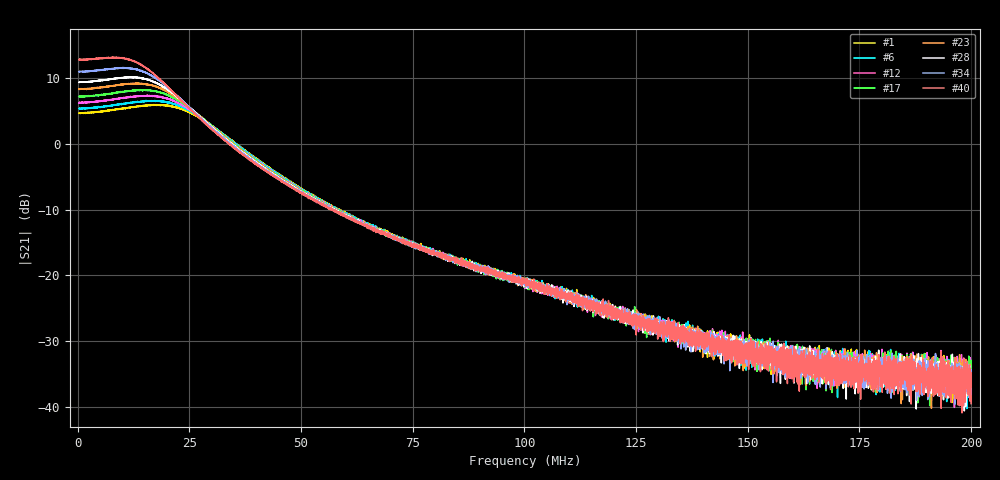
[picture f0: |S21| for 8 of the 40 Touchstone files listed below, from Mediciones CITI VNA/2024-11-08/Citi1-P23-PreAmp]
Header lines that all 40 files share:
# Hz S DB R 50
! CMT, M5065, 19127446, 24.2.4/2
! Data: Format (Calibration Info)
! Freq	S11:dB/Ang(F2)	S21:dB/Ang(F2)	S12:dB/Ang(F2)	S22:dB/Ang(F2)
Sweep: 300 kHz to 200 MHz
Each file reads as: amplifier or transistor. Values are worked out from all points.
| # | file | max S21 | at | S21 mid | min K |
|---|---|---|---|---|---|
| 1 | ganancia_0.s2p | 6.0 dB | 17.08 MHz | -21.0 dB at 100.2 MHz | 9.79 |
| 2 | ganancia_1.s2p | 6.1 dB | 17.37 MHz | -20.8 dB at 100.2 MHz | 6.64 |
| 3 | ganancia_2.s2p | 6.2 dB | 18.56 MHz | -21.4 dB at 100.2 MHz | 5.96 |
| 4 | ganancia_3.s2p | 6.3 dB | 17.34 MHz | -20.6 dB at 100.2 MHz | 7.92 |
| 5 | ganancia_4.s2p | 6.5 dB | 16.7 MHz | -20.9 dB at 100.2 MHz | 6.08 |
| 6 | ganancia_5.s2p | 6.6 dB | 15.3 MHz | -20.9 dB at 100.2 MHz | 10.60 |
| 7 | ganancia_6.s2p | 6.7 dB | 16.83 MHz | -21.0 dB at 100.2 MHz | 6.01 |
| 8 | ganancia_7.s2p | 6.8 dB | 15.68 MHz | -21.4 dB at 100.2 MHz | 6.20 |
| 9 | ganancia_8.s2p | 7.0 dB | 16.7 MHz | -21.0 dB at 100.2 MHz | 7.52 |
| 10 | ganancia_9.s2p | 7.1 dB | 16.26 MHz | -21.1 dB at 100.2 MHz | 7.77 |
| 11 | ganancia_10.s2p | 7.2 dB | 16.57 MHz | -21.8 dB at 100.2 MHz | 6.54 |
| 12 | ganancia_11.s2p | 7.4 dB | 15.61 MHz | -20.9 dB at 100.2 MHz | 6.15 |
| 13 | ganancia_12.s2p | 7.6 dB | 15.15 MHz | -21.2 dB at 100.2 MHz | 6.57 |
| 14 | ganancia_13.s2p | 7.7 dB | 14.19 MHz | -21.0 dB at 100.2 MHz | 7.07 |
| 15 | ganancia_14.s2p | 7.8 dB | 14.77 MHz | -21.0 dB at 100.2 MHz | 5.93 |
| 16 | ganancia_15.s2p | 8.0 dB | 14.99 MHz | -21.3 dB at 100.2 MHz | 7.14 |
| 17 | ganancia_16.s2p | 8.2 dB | 13.97 MHz | -21.2 dB at 100.2 MHz | 4.17 |
| 18 | ganancia_17.s2p | 8.4 dB | 14.72 MHz | -21.0 dB at 100.2 MHz | 5.42 |
| 19 | ganancia_18.s2p | 8.5 dB | 14.08 MHz | -21.4 dB at 100.2 MHz | 6.40 |
| 20 | ganancia_19.s2p | 8.6 dB | 14.01 MHz | -21.1 dB at 100.2 MHz | 6.10 |
| 21 | ganancia_20.s2p | 8.9 dB | 13.33 MHz | -20.9 dB at 100.2 MHz | 7.13 |
| 22 | ganancia_21.s2p | 9.1 dB | 12.73 MHz | -21.9 dB at 100.2 MHz | 4.52 |
| 23 | ganancia_22.s2p | 9.2 dB | 13.61 MHz | -20.9 dB at 100.2 MHz | 5.86 |
| 24 | ganancia_23.s2p | 9.4 dB | 13.3 MHz | -21.1 dB at 100.2 MHz | 4.05 |
| 25 | ganancia_24.s2p | 9.6 dB | 12.55 MHz | -21.6 dB at 100.2 MHz | 4.51 |
| 26 | ganancia_25.s2p | 9.8 dB | 12.51 MHz | -21.1 dB at 100.2 MHz | 5.47 |
| 27 | ganancia_26.s2p | 10.0 dB | 11.95 MHz | -20.5 dB at 100.2 MHz | 5.11 |
| 28 | ganancia_27.s2p | 10.2 dB | 11.68 MHz | -20.6 dB at 100.2 MHz | 5.32 |
| 29 | ganancia_28.s2p | 10.4 dB | 11.8 MHz | -21.0 dB at 100.2 MHz | 4.35 |
| 30 | ganancia_29.s2p | 10.6 dB | 10.77 MHz | -20.7 dB at 100.2 MHz | 4.49 |
| 31 | ganancia_30.s2p | 10.8 dB | 10.55 MHz | -20.8 dB at 100.2 MHz | 4.33 |
| 32 | ganancia_31.s2p | 11.0 dB | 10.4 MHz | -21.5 dB at 100.2 MHz | 4.50 |
| 33 | ganancia_32.s2p | 11.3 dB | 10.02 MHz | -21.6 dB at 100.2 MHz | 3.77 |
| 34 | ganancia_33.s2p | 11.6 dB | 10.18 MHz | -20.8 dB at 100.2 MHz | 3.68 |
| 35 | ganancia_34.s2p | 11.8 dB | 9.643 MHz | -21.0 dB at 100.2 MHz | 3.80 |
| 36 | ganancia_35.s2p | 12.0 dB | 9.509 MHz | -20.8 dB at 100.2 MHz | 3.23 |
| 37 | ganancia_36.s2p | 12.4 dB | 8.821 MHz | -21.4 dB at 100.2 MHz | 2.51 |
| 38 | ganancia_37.s2p | 12.7 dB | 8.821 MHz | -21.1 dB at 100.2 MHz | 3.89 |
| 39 | ganancia_38.s2p | 12.9 dB | 8.555 MHz | -20.9 dB at 100.2 MHz | 2.86 |
| 40 | ganancia_39.s2p | 13.1 dB | 8.688 MHz | -20.8 dB at 100.2 MHz | 2.23 |
